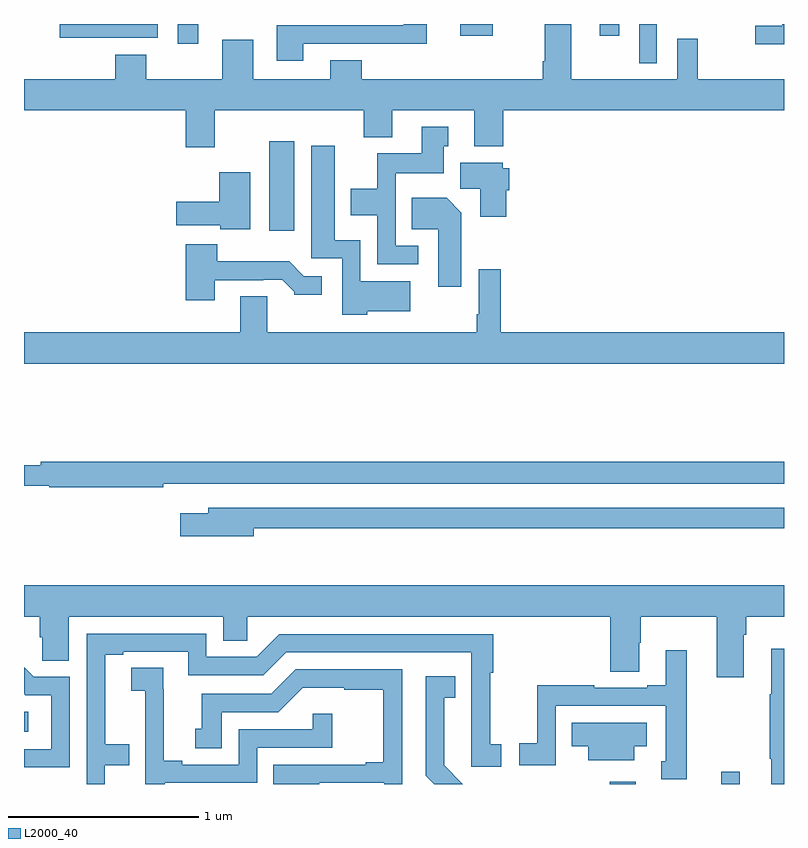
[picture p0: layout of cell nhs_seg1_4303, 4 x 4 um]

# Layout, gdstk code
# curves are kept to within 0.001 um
import gdstk
lib = gdstk.Library(unit=1e-6, precision=1e-09)
def R(c, l, rs):  # rectangles x0, y0, x1, y1
    for r in rs: c.add(gdstk.rectangle(r[:2], r[2:], *l))
def P(c, l, *ps):  # polygons
    for p in ps: c.add(gdstk.Polygon(p, *l))
L2000_40 = (2000, 40)

nhs_seg1_4303 = lib.new_cell('nhs_seg1_4303')
R(nhs_seg1_4303, L2000_40, [(348.084,536.199,348.22,536.212), (348.669,536.199,348.766,536.263), (345,536.474,345.022,536.578), (346.292,539.112,346.423,539.581), (348.237,539.993,348.33,540.199), (345.809,540.096,345.918,540.199), (345.189,540.126,345.705,540.199), (347.295,540.138,347.467,540.199), (348.029,540.138,348.133,540.199)])
P(nhs_seg1_4303, L2000_40, [(349,540.199),(348.99,540.199),(348.99,540.19),(348.849,540.19),(348.849,540.092),(349,540.092)],
  [(346.471,540.096),(346.901,540.096),(346.901,540.095),(347.119,540.095),(347.119,540.199),(346.998,540.199),(346.998,540.192),(346.331,540.192),(346.331,540.006),(346.471,540.006)],
  [(346.003,539.744),(346.787,539.744),(346.787,539.603),(346.939,539.603),(346.939,539.744),(347.369,539.744),(347.369,539.555),(347.522,539.555),(347.522,539.744),(349,539.744),(349,539.908),(348.547,539.908),(348.547,540.122),(348.438,540.122),(348.438,539.908),(347.881,539.908),(347.881,540.199),(347.741,540.199),(347.741,540.004),(347.729,540.004),(347.729,539.908),(346.777,539.908),(346.777,540.007),(346.613,540.007),(346.613,539.908),(346.207,539.908),(346.207,540.115),(346.043,540.115),(346.043,539.908),(345.643,539.908),(345.643,540.037),(345.479,540.037),(345.479,539.908),(345,539.908),(345,539.744),(345.851,539.744),(345.851,539.55),(346.003,539.55)],
  [(347.074,539.031),(346.956,539.031),(346.956,539.414),(347.209,539.414),(347.209,539.556),(347.233,539.556),(347.233,539.659),(347.093,539.659),(347.093,539.518),(346.858,539.518),(346.858,539.332),(346.721,539.332),(346.721,539.192),(346.86,539.192),(346.86,538.935),(347.074,538.935)],
  [(346.806,538.688),(347.032,538.688),(347.032,538.846),(346.77,538.846),(346.77,539.062),(346.636,539.062),(346.636,539.557),(346.511,539.557),(346.511,538.965),(346.674,538.965),(346.674,538.67),(346.806,538.67)],
  [(347.537,539.325),(347.555,539.325),(347.555,539.439),(347.52,539.439),(347.52,539.47),(347.297,539.47),(347.297,539.332),(347.402,539.332),(347.402,539.184),(347.537,539.184)],
  [(346.192,539.419),(346.028,539.419),(346.028,539.263),(345.801,539.263),(345.801,539.141),(346.032,539.141),(346.032,539.12),(346.192,539.12)],
  [(347.302,539.206),(347.224,539.284),(347.041,539.284),(347.041,539.12),(347.18,539.12),(347.18,538.815),(347.302,538.815)],
  [(346.003,538.851),(346.259,538.851),(346.259,538.854),(346.358,538.854),(346.422,538.79),(346.422,538.775),(346.567,538.775),(346.567,538.872),(346.473,538.872),(346.395,538.951),(346.016,538.951),(346.016,539.041),(345.851,539.041),(345.851,538.746),(346.003,538.746)],
  [(349,538.576),(347.51,538.576),(347.51,538.909),(347.394,538.909),(347.394,538.672),(347.382,538.672),(347.382,538.576),(346.279,538.576),(346.279,538.766),(346.139,538.766),(346.139,538.576),(345,538.576),(345,538.412),(349,538.412)],
  [(345.734,537.78),(349,537.78),(349,537.896),(345.088,537.896),(345.088,537.877),(345,537.877),(345,537.768),(345.134,537.768),(345.134,537.76),(345.734,537.76)],
  [(346.21,537.546),(349,537.546),(349,537.654),(345.971,537.654),(345.971,537.625),(345.822,537.625),(345.822,537.503),(346.21,537.503)],
  [(348.787,536.984),(348.8,536.984),(348.8,537.08),(349,537.08),(349,537.244),(345,537.244),(345,537.08),(345.083,537.08),(345.083,536.971),(345.096,536.971),(345.096,536.848),(345.235,536.848),(345.235,537.08),(346.049,537.08),(346.049,536.953),(346.176,536.953),(346.176,537.08),(348.086,537.08),(348.086,536.791),(348.238,536.791),(348.238,536.942),(348.246,536.942),(348.246,537.08),(348.647,537.08),(348.647,536.76),(348.787,536.76)],
  [(345.426,536.298),(345.554,536.298),(345.554,536.407),(345.427,536.407),(345.427,536.88),(345.523,536.88),(345.523,536.895),(345.864,536.895),(345.864,536.772),(346.26,536.772),(346.38,536.892),(347.355,536.892),(347.354,536.289),(347.512,536.289),(347.512,536.409),(347.454,536.409),(347.454,536.785),(347.471,536.785),(347.471,536.988),(346.344,536.988),(346.224,536.868),(345.96,536.868),(345.96,536.991),(345.33,536.991),(345.33,536.199),(345.426,536.199)],
  [(349,536.911),(348.932,536.911),(348.932,536.672),(348.925,536.672),(348.925,536.331),(348.932,536.331),(348.932,536.199),(349,536.199)],
  [(348.487,536.902),(348.377,536.902),(348.377,536.719),(348.281,536.719),(348.281,536.706),(348.002,536.706),(348.002,536.719),(347.701,536.719),(347.701,536.414),(347.607,536.414),(347.607,536.298),(347.799,536.298),(347.799,536.61),(348.378,536.61),(348.378,536.319),(348.353,536.319),(348.353,536.225),(348.487,536.225)],
  [(345.24,536.763),(345.051,536.763),(345,536.814),(345,536.673),(345.006,536.667),(345.144,536.667),(345.144,536.382),(345,536.382),(345,536.286),(345.24,536.286)],
  [(345.74,536.205),(346.227,536.205),(346.227,536.391),(346.622,536.391),(346.622,536.569),(346.521,536.569),(346.521,536.487),(346.131,536.487),(346.131,536.301),(345.832,536.301),(345.832,536.321),(345.736,536.321),(345.736,536.699),(345.734,536.699),(345.734,536.81),(345.564,536.81),(345.564,536.689),(345.638,536.689),(345.638,536.491),(345.639,536.491),(345.639,536.199),(345.74,536.199)],
  [(346.555,536.205),(346.896,536.205),(346.896,536.199),(346.992,536.199),(346.992,536.802),(346.431,536.802),(346.302,536.673),(345.935,536.673),(345.935,536.49),(345.902,536.49),(345.902,536.386),(346.042,536.386),(346.042,536.577),(346.338,536.577),(346.466,536.705),(346.685,536.705),(346.685,536.694),(346.891,536.694),(346.891,536.314),(346.799,536.314),(346.799,536.301),(346.312,536.301),(346.312,536.199),(346.555,536.199)],
  [(347.212,536.297),(347.212,536.654),(347.27,536.654),(347.27,536.767),(347.115,536.767),(347.115,536.242),(347.158,536.199),(347.31,536.199)],
  [(348.211,536.399),(348.277,536.399),(348.277,536.521),(347.884,536.521),(347.884,536.399),(347.969,536.399),(347.969,536.324),(348.211,536.324)])

lib.write_gds('nhs_seg1_4303.gds')
